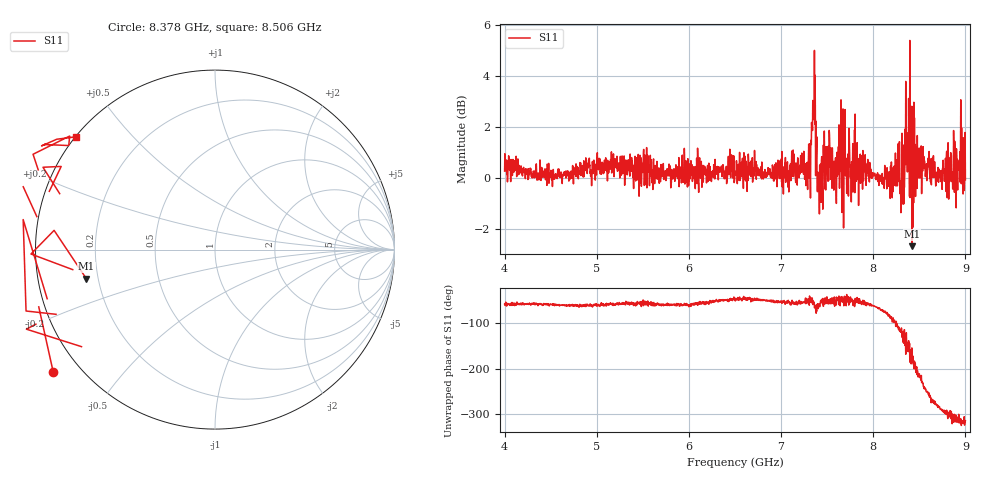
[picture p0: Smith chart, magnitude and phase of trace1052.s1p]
! Created with skrf 1.8.0 (http://scikit-rf.org).
# Hz S RI R 50.0
!freq ReS11 ImS11
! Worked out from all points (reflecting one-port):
!   1601 points, 4 GHz to 9 GHz, reference 50 ohm
!   lowest |S11| = -2.7 dB at 8.422 GHz (marker M1), VSWR 6.54, Z = 7.73 - j5.45 ohm
!   phase of S11 starts at -57 deg and turns -257 deg over the sweep
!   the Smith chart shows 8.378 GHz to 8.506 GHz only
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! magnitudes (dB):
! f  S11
! 4 GHz  0.3
! 4.625 GHz  -0.2
! 5.25 GHz  0.0
! 5.875 GHz  0.0
! 6.5 GHz  0.3
! 7.125 GHz  0.5
! 7.294 GHz  0.3
! 7.347 GHz  2.9
! 7.366 GHz  2.1
! 7.397 GHz  -0.5
! 7.416 GHz  -1.4
! 7.512 GHz  1.2
! 7.594 GHz  0.5
! 7.647 GHz  2.0
! 7.703 GHz  0.8
! 7.75 GHz  0.5
! 8.097 GHz  0.2
! 8.262 GHz  -0.3
! 8.316 GHz  0.1
! 8.334 GHz  0.1
! 8.375 GHz  1.8
! 8.412 GHz  0.7
! 8.422 GHz  -2.7
! 8.447 GHz  2.4
! 8.497 GHz  0.9
! 8.7 GHz  0.1
! 8.972 GHz  0.7
! 9 GHz  -0.1
